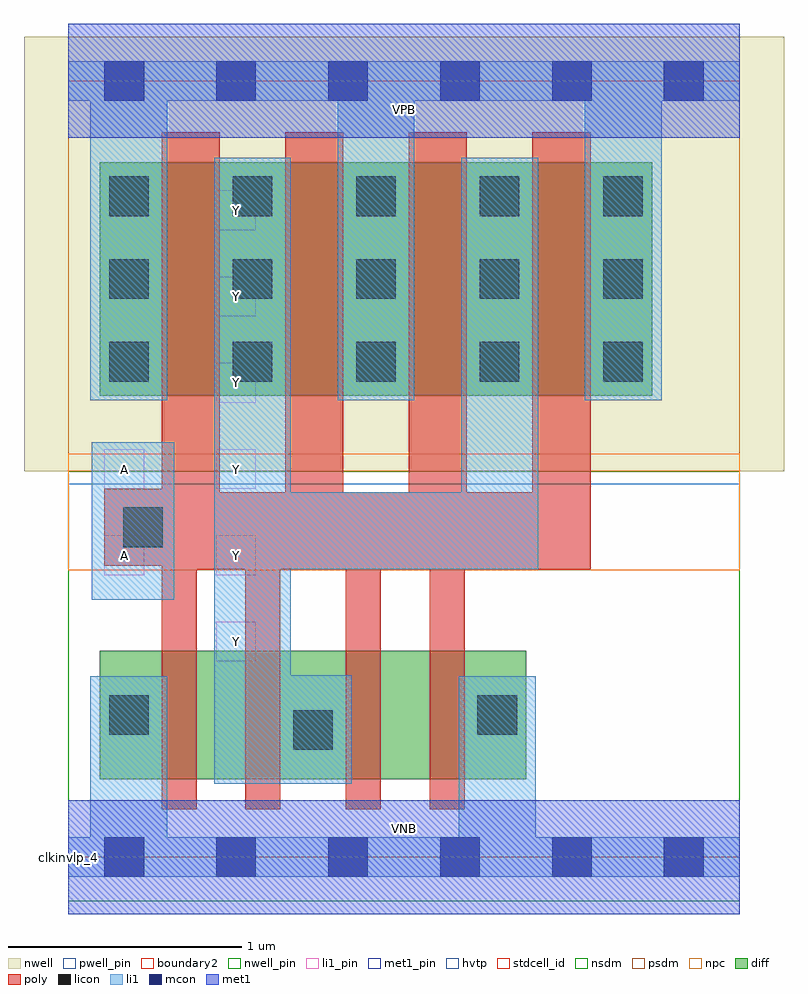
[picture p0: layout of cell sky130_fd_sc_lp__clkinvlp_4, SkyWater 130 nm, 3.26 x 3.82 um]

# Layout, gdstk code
import gdstk
lib = gdstk.Library(unit=1e-6, precision=1e-09)
def R(c, l, rs):  # rectangles x0, y0, x1, y1
    for r in rs: c.add(gdstk.rectangle(r[:2], r[2:], *l))
def A(c, l, x, y, w, h, nx, ny, dx, dy):  # array of equal rectangles
    R(c, l, [(x+i*dx, y+j*dy, x+i*dx+w, y+j*dy+h) for i in range(nx) for j in range(ny)])
def P(c, l, *ps):  # polygons
    for p in ps: c.add(gdstk.Polygon(p, *l))
nwell_pin = (64, 16)
nwell = (64, 20)
diff = (65, 20)
poly = (66, 20)
licon = (66, 44)
li1_pin = (67, 16)
li1 = (67, 20)
mcon = (67, 44)
met1_pin = (68, 16)
met1 = (68, 20)
hvtp = (78, 44)
stdcell_id = (81, 4)
nsdm = (93, 44)
psdm = (94, 20)
npc = (95, 20)
pwell_pin = (122, 16)
boundary2 = (236, 0)

sky130_fd_sc_lp__clkinvl = lib.new_cell('sky130_fd_sc_lp__clkinvlp_4')
R(sky130_fd_sc_lp__clkinvl, nwell_pin, [(0,3.085,2.88,3.33)])
R(sky130_fd_sc_lp__clkinvl, nwell, [(-0.19,1.655,3.07,3.52)])
R(sky130_fd_sc_lp__clkinvl, diff, [(0.135,0.335,1.965,0.885), (0.135,1.98,2.505,2.98)])
P(sky130_fd_sc_lp__clkinvl, poly, [(2.24,3.11),(1.99,3.11),(1.99,1.565),(1.71,1.565),(1.71,3.11),(1.46,3.11),(1.46,1.565),(1.18,1.565),(1.18,3.11),(0.93,3.11),(0.93,1.565),(0.65,1.565),(0.65,3.11),(0.4,3.11),(0.4,1.58),(0.155,1.58),(0.155,1.25),(0.4,1.25),(0.4,0.205),(0.55,0.205),(0.55,1.235),(0.76,1.235),(0.76,0.205),(0.91,0.205),(0.91,1.235),(1.19,1.235),(1.19,0.205),(1.34,0.205),(1.34,1.235),(1.55,1.235),(1.55,0.205),(1.7,0.205),(1.7,1.235),(2.24,1.235)])
A(sky130_fd_sc_lp__clkinvl, licon, 0.175, 2.04, 0.17, 0.17, 5, 3, 0.53, 0.355)
R(sky130_fd_sc_lp__clkinvl, licon, [(0.965,0.46,1.135,0.63), (0.175,0.525,0.345,0.695), (1.755,0.525,1.925,0.695), (0.235,1.33,0.405,1.5)])
A(sky130_fd_sc_lp__clkinvl, li1_pin, 0.635, 0.84, 0.17, 0.17, 1, 6, 0, 0.37)
R(sky130_fd_sc_lp__clkinvl, li1_pin, [(0.155,1.21,0.325,1.38), (0.155,1.58,0.325,1.75)])
R(sky130_fd_sc_lp__clkinvl, li1, [(0.1,1.105,0.455,1.78)])
P(sky130_fd_sc_lp__clkinvl, li1, [(2.015,3),(1.685,3),(1.685,1.565),(0.955,1.565),(0.955,3),(0.625,3),(0.625,0.315),(1.215,0.315),(1.215,0.78),(0.955,0.78),(0.955,1.235),(2.015,1.235)],
  [(2.88,3.415),(0,3.415),(0,3.245),(0.095,3.245),(0.095,1.96),(0.425,1.96),(0.425,3.245),(1.155,3.245),(1.155,1.96),(1.485,1.96),(1.485,3.245),(2.215,3.245),(2.215,1.96),(2.545,1.96),(2.545,3.245),(2.88,3.245)],
  [(2.88,0.085),(2.005,0.085),(2.005,0.775),(1.675,0.775),(1.675,0.085),(0.425,0.085),(0.425,0.775),(0.095,0.775),(0.095,0.085),(0,0.085),(0,-0.085),(2.88,-0.085)])
A(sky130_fd_sc_lp__clkinvl, mcon, 0.155, -0.085, 0.17, 0.17, 6, 2, 0.48, 3.33)
R(sky130_fd_sc_lp__clkinvl, met1_pin, [(0,0,2.88,0.245), (0,3.085,2.88,3.33)])
R(sky130_fd_sc_lp__clkinvl, met1, [(0,-0.245,2.88,0.245), (0,3.085,2.88,3.575)])
R(sky130_fd_sc_lp__clkinvl, hvtp, [(0,1.6,2.88,3.33)])
R(sky130_fd_sc_lp__clkinvl, stdcell_id, [(0,0,2.88,3.33)])
R(sky130_fd_sc_lp__clkinvl, nsdm, [(0,-0.19,2.88,1.655)])
R(sky130_fd_sc_lp__clkinvl, psdm, [(0,1.655,2.88,3.52)])
R(sky130_fd_sc_lp__clkinvl, npc, [(0,1.23,2.88,1.73)])
R(sky130_fd_sc_lp__clkinvl, pwell_pin, [(0,0,2.88,0.245)])
R(sky130_fd_sc_lp__clkinvl, boundary2, [(0,0,2.88,3.33)])
sky130_fd_sc_lp__clkinvl.add(gdstk.Label('VNB', (1.44,0.123), layer=64, texttype=59))
sky130_fd_sc_lp__clkinvl.add(gdstk.Label('VPB', (1.44,3.208), layer=64, texttype=5))
sky130_fd_sc_lp__clkinvl.add(gdstk.Label('clkinvlp_4', (0,0), layer=83, texttype=44))
sky130_fd_sc_lp__clkinvl.add(gdstk.Label('VPWR', (1.44,3.208), layer=68, texttype=5))
sky130_fd_sc_lp__clkinvl.add(gdstk.Label('VGND', (1.44,0.123), layer=68, texttype=5))
sky130_fd_sc_lp__clkinvl.add(gdstk.Label('A', (0.24,1.295), layer=67, texttype=5))
sky130_fd_sc_lp__clkinvl.add(gdstk.Label('A', (0.24,1.665), layer=67, texttype=5))
sky130_fd_sc_lp__clkinvl.add(gdstk.Label('Y', (0.72,0.925), layer=67, texttype=5))
sky130_fd_sc_lp__clkinvl.add(gdstk.Label('Y', (0.72,1.295), layer=67, texttype=5))
sky130_fd_sc_lp__clkinvl.add(gdstk.Label('Y', (0.72,1.665), layer=67, texttype=5))
sky130_fd_sc_lp__clkinvl.add(gdstk.Label('Y', (0.72,2.035), layer=67, texttype=5))
sky130_fd_sc_lp__clkinvl.add(gdstk.Label('Y', (0.72,2.405), layer=67, texttype=5))
sky130_fd_sc_lp__clkinvl.add(gdstk.Label('Y', (0.72,2.775), layer=67, texttype=5))

lib.write_gds('sky130_fd_sc_lp__clkinvlp_4.gds')
